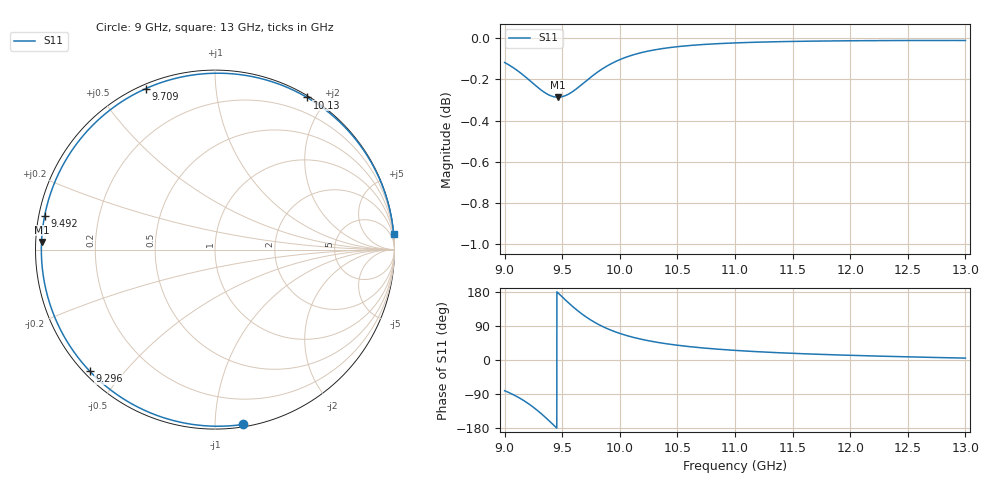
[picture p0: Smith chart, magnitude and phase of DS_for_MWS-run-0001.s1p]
! TOUCHSTONE file generated by CST DESIGN STUDIO
! Date and time: Tue Feb  4 12:39:01 2025
! Project name: C:\Work\MatlabApps\UnitCellOptimizationMatlab\CST\unitcell.cst
! Tree item: Tasks\Sweep1\SPara1\S-Parameters
! Header version: 2024
! Port assignment regex: !\s*Touchstone port\s*([0-9]+)\s*=\s*(CST MWS port|CST DES external port|CST DES block port)\s*(.+)\s* \(\"(.*)\"\)(\s*mode\s*([0-9]+))?.*
! Touchstone port assignment:
! Touchstone port 1 = CST DES external port 1 ("")
# GHz S MA R 50
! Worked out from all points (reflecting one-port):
!   4001 points, 9 GHz to 13 GHz, reference 50 ohm
!   lowest |S11| = -0.3 dB at 9.462 GHz (marker M1), VSWR 60.60, Z = 0.825 + j1.08 ohm
!   phase of S11 starts at -81 deg and turns -274 deg over the sweep
!   S11 on the Smith chart (normalised r, x): 9 GHz: 0.02, -1.17; 9.296 GHz: 0.02, -0.40; 9.492 GHz: 0.02, +0.10; 9.709 GHz: 0.02, +0.66; 10.13 GHz: 0.02, +1.77; 13 GHz: 0, +23
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9  0.9865 -81.0
9.092  0.9829 -94.1
9.166  0.9794 -107.0
9.233  0.9758 -120.9
9.296  0.9725 -135.9
9.339  0.9704 -147.2
9.385  0.9687 -160.0
9.424  0.9678 -171.3
9.462  0.9675 177.5
9.492  0.9677 168.7
9.5  0.9678 166.4
9.55  0.969 152.2
9.607  0.9713 136.9
9.657  0.9737 124.7
9.709  0.9764 113.3
9.766  0.9793 102.2
9.83  0.9822 91.5
9.913  0.9854 79.9
10  0.9881 70.1
10.129  0.991 58.8
10.296  0.9934 48.2
10.5  0.9953 38.9
10.723  0.9965 31.8
11  0.9974 25.4
11.5  0.9982 17.6
12  0.9986 12.3
12.5  0.9987 8.3
13  0.9987 4.9
